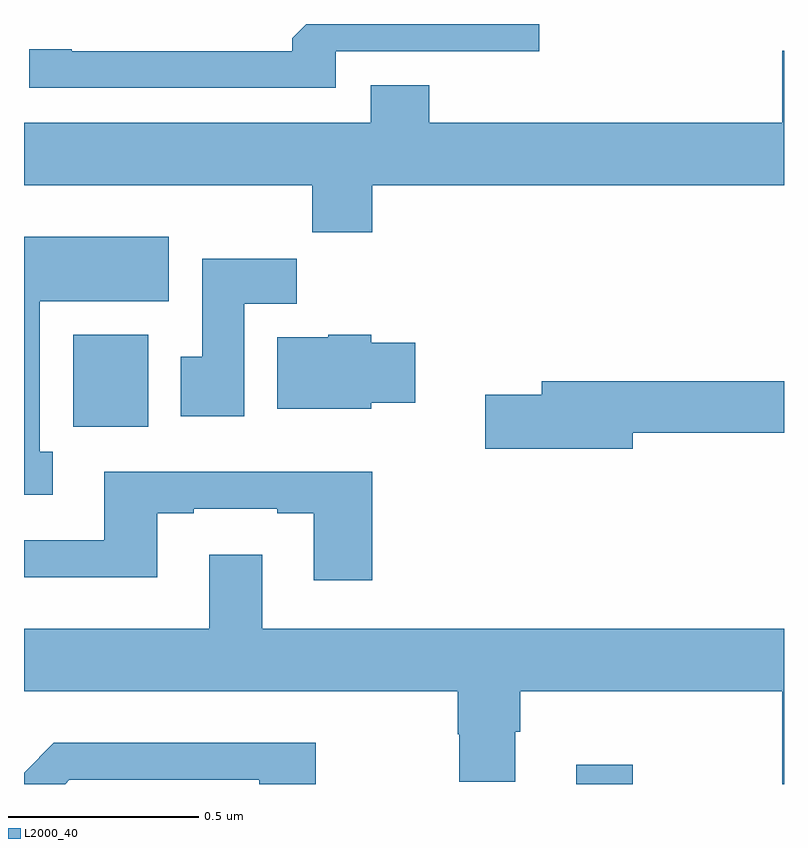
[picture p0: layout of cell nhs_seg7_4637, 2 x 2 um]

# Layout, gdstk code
import gdstk
lib = gdstk.Library(unit=1e-6, precision=1e-09)
def R(c, l, rs):  # rectangles x0, y0, x1, y1
    for r in rs: c.add(gdstk.rectangle(r[:2], r[2:], *l))
def P(c, l, *ps):  # polygons
    for p in ps: c.add(gdstk.Polygon(p, *l))
L2000_40 = (2000, 40)

nhs_seg7_4637 = lib.new_cell('nhs_seg7_4637')
R(nhs_seg7_4637, L2000_40, [(176.453,1039,176.602,1039.051), (175.13,1039.94,175.327,1040.182)])
P(nhs_seg7_4637, L2000_40, [(175.821,1040.928),(176.356,1040.928),(176.356,1041),(175.743,1041),(175.706,1040.962),(175.706,1040.928),(175.126,1040.928),(175.126,1040.933),(175.014,1040.933),(175.014,1040.832),(175.821,1040.832)],
  [(175.916,1040.576),(177,1040.576),(177,1040.929),(176.996,1040.929),(176.996,1040.74),(176.066,1040.74),(176.066,1040.839),(175.913,1040.839),(175.913,1040.74),(175,1040.74),(175,1040.576),(175.759,1040.576),(175.759,1040.452),(175.916,1040.452)],
  [(175.075,1039.874),(175.042,1039.874),(175.042,1040.27),(175.381,1040.27),(175.381,1040.44),(175.001,1040.44),(175.001,1040.404),(175,1040.404),(175,1039.761),(175.075,1039.761)],
  [(175.579,1040.264),(175.718,1040.264),(175.718,1040.382),(175.469,1040.382),(175.469,1040.124),(175.412,1040.124),(175.412,1039.968),(175.579,1039.968)],
  [(175.914,1040.003),(176.029,1040.003),(176.029,1040.161),(175.914,1040.161),(175.914,1040.182),(175.8,1040.182),(175.8,1040.176),(175.667,1040.176),(175.667,1039.988),(175.914,1039.988)],
  [(176.602,1039.924),(177,1039.924),(177,1040.06),(176.363,1040.06),(176.363,1040.024),(176.214,1040.024),(176.214,1039.882),(176.602,1039.882)],
  [(175.916,1039.822),(175.211,1039.822),(175.211,1039.641),(175,1039.641),(175,1039.544),(175.351,1039.544),(175.351,1039.713),(175.447,1039.713),(175.447,1039.725),(175.667,1039.725),(175.667,1039.713),(175.763,1039.713),(175.763,1039.536),(175.916,1039.536)],
  [(177,1039.408),(175.627,1039.408),(175.627,1039.603),(175.487,1039.603),(175.487,1039.408),(175,1039.408),(175,1039.244),(176.141,1039.244),(176.141,1039.131),(176.146,1039.131),(176.146,1039.006),(176.293,1039.006),(176.293,1039.138),(176.306,1039.138),(176.306,1039.244),(176.996,1039.244),(176.996,1039),(177,1039)],
  [(175.119,1039.011),(175.619,1039.011),(175.619,1039),(175.768,1039),(175.768,1039.108),(175.078,1039.108),(175,1039.03),(175,1039),(175.108,1039)])

lib.write_gds('nhs_seg7_4637.gds')
